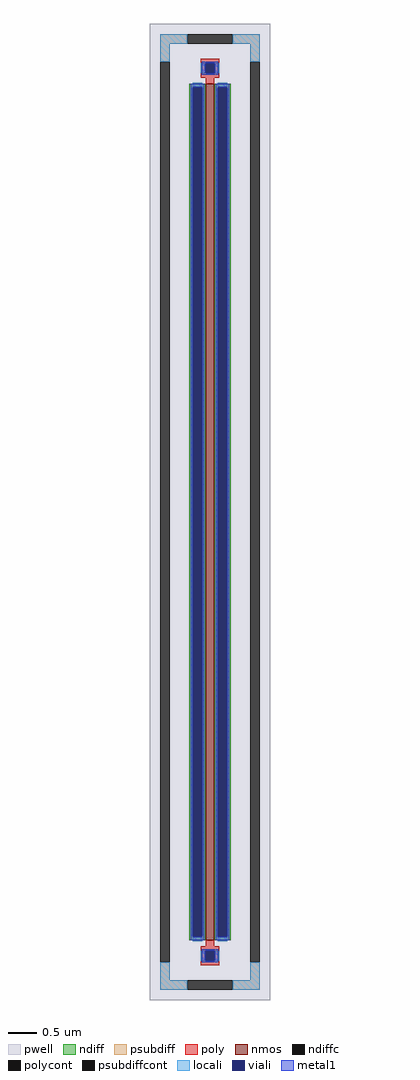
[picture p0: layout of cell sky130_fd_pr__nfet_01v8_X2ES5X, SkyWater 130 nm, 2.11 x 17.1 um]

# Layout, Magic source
magic
tech sky130A
magscale 1 2
<< pwell >>
rect -211 -1710 211 1710
<< nmos >>
rect -15 -1500 15 1500
<< ndiff >>
rect -73 1488 -15 1500
rect -73 -1488 -61 1488
rect -27 -1488 -15 1488
rect -73 -1500 -15 -1488
rect 15 1488 73 1500
rect 15 -1488 27 1488
rect 61 -1488 73 1488
rect 15 -1500 73 -1488
<< ndiffc >>
rect -61 -1488 -27 1488
rect 27 -1488 61 1488
<< psubdiff >>
rect -175 1640 -79 1674
rect 79 1640 175 1674
rect -175 1578 -141 1640
rect 141 1578 175 1640
rect -175 -1640 -141 -1578
rect 141 -1640 175 -1578
rect -175 -1674 -79 -1640
rect 79 -1674 175 -1640
<< psubdiffcont >>
rect -79 1640 79 1674
rect -175 -1578 -141 1578
rect 141 -1578 175 1578
rect -79 -1674 79 -1640
<< poly >>
rect -33 1572 33 1588
rect -33 1538 -17 1572
rect 17 1538 33 1572
rect -33 1522 33 1538
rect -15 1500 15 1522
rect -15 -1522 15 -1500
rect -33 -1538 33 -1522
rect -33 -1572 -17 -1538
rect 17 -1572 33 -1538
rect -33 -1588 33 -1572
<< polycont >>
rect -17 1538 17 1572
rect -17 -1572 17 -1538
<< locali >>
rect -175 1640 -79 1674
rect 79 1640 175 1674
rect -175 1578 -141 1640
rect 141 1578 175 1640
rect -33 1538 -17 1572
rect 17 1538 33 1572
rect -61 1488 -27 1504
rect -61 -1504 -27 -1488
rect 27 1488 61 1504
rect 27 -1504 61 -1488
rect -33 -1572 -17 -1538
rect 17 -1572 33 -1538
rect -175 -1640 -141 -1578
rect 141 -1640 175 -1578
rect -175 -1674 -79 -1640
rect 79 -1674 175 -1640
<< viali >>
rect -17 1538 17 1572
rect -61 -1488 -27 1488
rect 27 -1488 61 1488
rect -17 -1572 17 -1538
<< metal1 >>
rect -29 1572 29 1578
rect -29 1538 -17 1572
rect 17 1538 29 1572
rect -29 1532 29 1538
rect -67 1488 -21 1500
rect -67 -1488 -61 1488
rect -27 -1488 -21 1488
rect -67 -1500 -21 -1488
rect 21 1488 67 1500
rect 21 -1488 27 1488
rect 61 -1488 67 1488
rect 21 -1500 67 -1488
rect -29 -1538 29 -1532
rect -29 -1572 -17 -1538
rect 17 -1572 29 -1538
rect -29 -1578 29 -1572
<< properties >>
string FIXED_BBOX -158 -1657 158 1657
string gencell sky130_fd_pr__nfet_01v8
string library sky130
string parameters w 15.0 l 0.15 m 1 nf 1 diffcov 100 polycov 100 guard 1 glc 1 grc 1 gtc 1 gbc 1 tbcov 100 rlcov 100 topc 1 botc 1 poverlap 0 doverlap 1 lmin 0.15 wmin 0.42 compatible {sky130_fd_pr__nfet_01v8 sky130_fd_pr__nfet_01v8_lvt  sky130_fd_bs_flash__special_sonosfet_star  sky130_fd_pr__nfet_g5v0d10v5 sky130_fd_pr__nfet_05v0_nvt  sky130_fd_pr__nfet_03v3_nvt} full_metal 1 viasrc 100 viadrn 100 viagate 100 viagb 0 viagr 0 viagl 0 viagt 0
<< end >>
